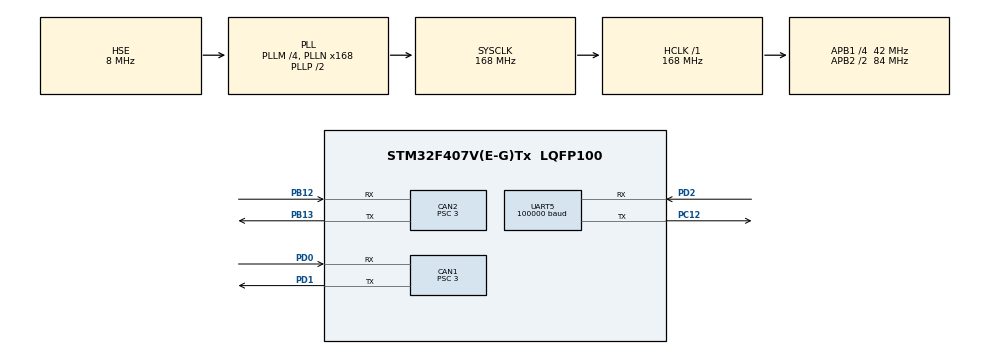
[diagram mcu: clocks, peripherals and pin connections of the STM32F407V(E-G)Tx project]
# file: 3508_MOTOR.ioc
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CAN1.BS1=CAN_BS1_10TQ
CAN1.BS2=CAN_BS2_3TQ
CAN1.CalculateBaudRate=1000000
CAN1.CalculateTimeBit=999.99
CAN1.CalculateTimeQuantum=71.42857142857143
CAN1.Prescaler=3
CAN2.BS1=CAN_BS1_10TQ
CAN2.BS2=CAN_BS2_3TQ
CAN2.CalculateBaudRate=1000000
CAN2.CalculateTimeBit=999.99
CAN2.CalculateTimeQuantum=71.42857142857143
CAN2.Prescaler=3
Dma.Request0=UART5_RX
Dma.UART5_RX.0.Direction=DMA_PERIPH_TO_MEMORY
Dma.UART5_RX.0.FIFOMode=DMA_FIFOMODE_DISABLE
Dma.UART5_RX.0.Instance=DMA1_Stream0
Dma.UART5_RX.0.MemDataAlignment=DMA_MDATAALIGN_BYTE
Dma.UART5_RX.0.MemInc=DMA_MINC_ENABLE
Dma.UART5_RX.0.Mode=DMA_NORMAL
Dma.UART5_RX.0.PeriphDataAlignment=DMA_PDATAALIGN_BYTE
Dma.UART5_RX.0.PeriphInc=DMA_PINC_DISABLE
Dma.UART5_RX.0.Priority=DMA_PRIORITY_LOW
Mcu.Family=STM32F4
Mcu.Name=STM32F407V(E-G)Tx
Mcu.Package=LQFP100
NVIC.CAN1_RX0_IRQn=true\:0\:0\:false\:false\:true\:true\:true
NVIC.CAN1_RX1_IRQn=true\:0\:0\:false\:false\:true\:true\:true
NVIC.CAN2_RX0_IRQn=true\:0\:0\:false\:false\:true\:true\:true
NVIC.DMA1_Stream0_IRQn=true\:0\:0\:false\:false\:true\:false\:true
NVIC.PriorityGroup=NVIC_PRIORITYGROUP_4
NVIC.UART5_IRQn=true\:0\:0\:false\:false\:true\:true\:true
PA13.Mode=Serial_Wire
PA13.Signal=SYS_JTMS-SWDIO
PA14.Mode=Serial_Wire
PA14.Signal=SYS_JTCK-SWCLK
PB12.Mode=CAN_Activate
PB12.Signal=CAN2_RX
PB13.Mode=CAN_Activate
PB13.Signal=CAN2_TX
PC12.Mode=Asynchronous
PC12.Signal=UART5_TX
PD0.Mode=CAN_Activate
PD0.Signal=CAN1_RX
PD1.Mode=CAN_Activate
PD1.Signal=CAN1_TX
PD2.Mode=Asynchronous
PD2.Signal=UART5_RX
PH0-OSC_IN.Mode=HSE-External-Oscillator
PH0-OSC_IN.Signal=RCC_OSC_IN
PH1-OSC_OUT.Mode=HSE-External-Oscillator
PH1-OSC_OUT.Signal=RCC_OSC_OUT
ProjectManager.HeapSize=0x200
ProjectManager.StackSize=0x400
ProjectManager.TargetToolchain=MDK-ARM V5.27
RCC.48MHZClocksFreq_Value=84000000
RCC.AHBFreq_Value=168000000
RCC.APB1CLKDivider=RCC_HCLK_DIV4
RCC.APB1Freq_Value=42000000
RCC.APB1TimFreq_Value=84000000
RCC.APB2CLKDivider=RCC_HCLK_DIV2
RCC.APB2Freq_Value=84000000
RCC.APB2TimFreq_Value=168000000
RCC.CortexFreq_Value=168000000
RCC.HCLKFreq_Value=168000000
RCC.HSE_VALUE=8000000
RCC.HSI_VALUE=16000000
RCC.LSE_VALUE=32768
RCC.PLLM=4
RCC.PLLN=168
RCC.PLLSourceVirtual=RCC_PLLSOURCE_HSE
RCC.SYSCLKFreq_VALUE=168000000
RCC.SYSCLKSource=RCC_SYSCLKSOURCE_PLLCLK
RCC.VCOOutputFreq_Value=336000000
UART5.BaudRate=100000
UART5.Parity=PARITY_EVEN
UART5.VirtualMode=Asynchronous
board=custom

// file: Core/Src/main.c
/* USER CODE BEGIN Header */
/**
  ******************************************************************************
  * @file           : main.c
  * @brief          : Main program body
  ******************************************************************************
  * @attention
  *
  * <h2><center>&copy; Copyright (c) 2021 STMicroelectronics.
  * All rights reserved.</center></h2>
  *
  * This software component is licensed by ST under BSD 3-Clause license,
  * the "License"; You may not use this file except in compliance with the
  * License. You may obtain a copy of the License at:
  *                        opensource.org/licenses/BSD-3-Clause
  *
  ******************************************************************************
  */
/* USER CODE END Header */
#include "main.h"
#include "can.h"
#include "dma.h"
#include "usart.h"
#include "gpio.h"

/* USER CODE BEGIN Includes */
#include "pid.h"
#include "CAN_receive.h"
#include "bsp_can.h"
/* USER CODE END Includes */

void SystemClock_Config(void);

/* USER CODE BEGIN 0 */
pid_type_def pid_trigle;
fp32 PID_trigle[3]={23,2,0};
motor_measure_t motor_trigle;
int16_t rpm;
int16_t current;
uint8_t rc_data[18];
/* USER CODE END 0 */

int main(void)
{

  /* MCU Configuration--------------------------------------------------------*/

  /* Reset of all peripherals, Initializes the Flash interface and the Systick. */
  HAL_Init();

  /* Configure the system clock */
  SystemClock_Config();

  /* Initialize all configured peripherals */
  MX_GPIO_Init();
  MX_DMA_Init();
  MX_CAN1_Init();
  MX_UART5_Init();
  MX_CAN2_Init();
  /* USER CODE BEGIN 2 */
    can_filter_init();
	PID_init(&pid_trigle, PID_POSITION, PID_trigle, 16000,4000);

  /* USER CODE END 2 */

  /* Infinite loop */
  while (1)
  {

    /* USER CODE BEGIN 3 */
		//HAL_UART_Receive_DMA(&huart5, rc_data, 18);
		//if()
		//PID_calc(&pid_trigle ,motor_trigle.speed_rpm,-100);
		motor_trigle = *get_chassis_motor_measure_point(0);
		HAL_Delay(1);
		CAN_cmd_chassis(300,0,0,0);
		//CAN_cmd_gimbal(20000,0,0,0);
		HAL_Delay(1);
  }
  /* USER CODE END 3 */
}

void SystemClock_Config(void)
{
  RCC_OscInitTypeDef RCC_OscInitStruct = {0};
  RCC_ClkInitTypeDef RCC_ClkInitStruct = {0};

  /** Configure the main internal regulator output voltage
  */
  __HAL_RCC_PWR_CLK_ENABLE();
  __HAL_PWR_VOLTAGESCALING_CONFIG(PWR_REGULATOR_VOLTAGE_SCALE1);
  /** Initializes the RCC Oscillators according to the specified parameters
  * in the RCC_OscInitTypeDef structure.
  */
  RCC_OscInitStruct.OscillatorType = RCC_OSCILLATORTYPE_HSE;
  RCC_OscInitStruct.HSEState = RCC_HSE_ON;
  RCC_OscInitStruct.PLL.PLLState = RCC_PLL_ON;
  RCC_OscInitStruct.PLL.PLLSource = RCC_PLLSOURCE_HSE;
  RCC_OscInitStruct.PLL.PLLM = 4;
  RCC_OscInitStruct.PLL.PLLN = 168;
  RCC_OscInitStruct.PLL.PLLP = RCC_PLLP_DIV2;
  RCC_OscInitStruct.PLL.PLLQ = 4;
  if (HAL_RCC_OscConfig(&RCC_OscInitStruct) != HAL_OK)
  {
    Error_Handler();
  }
  /** Initializes the CPU, AHB and APB buses clocks
  */
  RCC_ClkInitStruct.ClockType = RCC_CLOCKTYPE_HCLK|RCC_CLOCKTYPE_SYSCLK
                              |RCC_CLOCKTYPE_PCLK1|RCC_CLOCKTYPE_PCLK2;
  RCC_ClkInitStruct.SYSCLKSource = RCC_SYSCLKSOURCE_PLLCLK;
  RCC_ClkInitStruct.AHBCLKDivider = RCC_SYSCLK_DIV1;
  RCC_ClkInitStruct.APB1CLKDivider = RCC_HCLK_DIV4;
  RCC_ClkInitStruct.APB2CLKDivider = RCC_HCLK_DIV2;

  if (HAL_RCC_ClockConfig(&RCC_ClkInitStruct, FLASH_LATENCY_5) != HAL_OK)
  {
    Error_Handler();
  }
}

void Error_Handler(void)
{
  __disable_irq();
  while (1)
  {
  }
}

/************************ (C) COPYRIGHT STMicroelectronics *****END OF FILE****/
